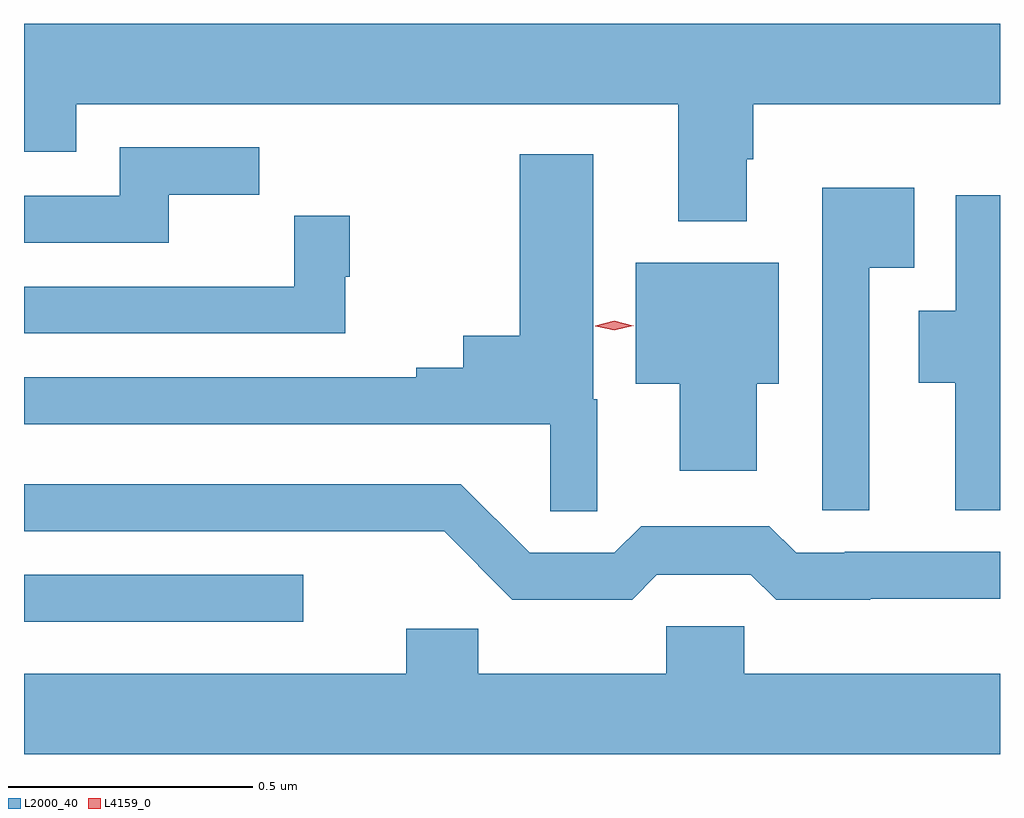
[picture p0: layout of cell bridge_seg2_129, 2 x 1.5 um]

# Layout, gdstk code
import gdstk
lib = gdstk.Library(unit=1e-6, precision=1e-09)
def R(c, l, rs):  # rectangles x0, y0, x1, y1
    for r in rs: c.add(gdstk.rectangle(r[:2], r[2:], *l))
def P(c, l, *ps):  # polygons
    for p in ps: c.add(gdstk.Polygon(p, *l))
L2000_40 = (2000, 40)
L4159_0 = (4159, 0)

bridge_seg2_129 = lib.new_cell('bridge_seg2_129')
R(bridge_seg2_129, L2000_40, [(384.776,589.299,385.348,589.395)])
P(bridge_seg2_129, L2000_40, [(386.257,590.247),(386.27,590.247),(386.27,590.36),(386.776,590.36),(386.776,590.524),(384.776,590.524),(384.776,590.262),(384.883,590.262),(384.883,590.36),(386.117,590.36),(386.117,590.12),(386.257,590.12)],
  [(385.073,590.174),(385.258,590.174),(385.258,590.271),(384.972,590.271),(384.972,590.172),(384.776,590.172),(384.776,590.076),(385.073,590.076)],
  [(385.951,589.755),(385.942,589.755),(385.942,590.257),(385.792,590.257),(385.792,589.885),(385.676,589.885),(385.676,589.82),(385.58,589.82),(385.58,589.8),(384.776,589.8),(384.776,589.704),(385.854,589.704),(385.854,589.525),(385.951,589.525)],
  [(386.508,590.024),(386.6,590.024),(386.6,590.188),(386.412,590.188),(386.412,589.528),(386.508,589.528)],
  [(386.776,590.173),(386.685,590.173),(386.685,589.936),(386.609,589.936),(386.609,589.789),(386.684,589.789),(386.684,589.528),(386.776,589.528)],
  [(385.434,590.006),(385.444,590.006),(385.444,590.131),(385.33,590.131),(385.33,589.986),(384.776,589.986),(384.776,589.89),(385.434,589.89)],
  [(386.278,589.787),(386.323,589.787),(386.323,590.035),(386.03,590.035),(386.03,589.787),(386.12,589.787),(386.12,589.608),(386.278,589.608)],
  [(386.073,589.395),(386.265,589.395),(386.317,589.344),(386.51,589.344),(386.51,589.346),(386.776,589.346),(386.776,589.443),(386.458,589.443),(386.458,589.44),(386.358,589.44),(386.303,589.495),(386.041,589.495),(385.986,589.44),(385.812,589.44),(385.671,589.581),(384.776,589.581),(384.776,589.485),(385.532,589.485),(385.532,589.484),(385.637,589.484),(385.777,589.344),(386.022,589.344)],
  [(386.776,589.192),(386.252,589.192),(386.252,589.29),(386.092,589.29),(386.092,589.192),(385.707,589.192),(385.707,589.285),(385.559,589.285),(385.559,589.192),(384.776,589.192),(384.776,589.028),(386.776,589.028)])
P(bridge_seg2_129, L4159_0, [(385.986,589.896),(385.947,589.905),(385.947,589.906),(385.947,589.906),(385.986,589.916),(386.024,589.906),(386.025,589.906),(386.024,589.906)])

lib.write_gds('bridge_seg2_129.gds')
